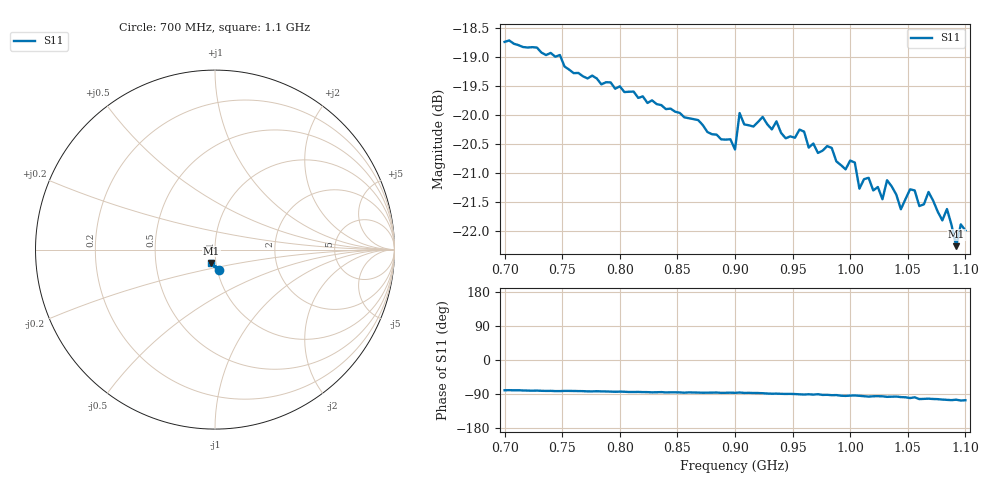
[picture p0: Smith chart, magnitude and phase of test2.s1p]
# HZ S RI R 50
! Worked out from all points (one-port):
!   101 points, 700 MHz to 1.1 GHz, reference 50 ohm
!   lowest |S11| = -22.3 dB at 1.092 GHz (marker M1), VSWR 1.17, Z = 47.5 - j7.14 ohm
!   |S11| at or under -10 dB: start of sweep to end of sweep
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7e8  0.0204 -0.1138
7.48e8  0.0154 -0.1116
7.52e8  0.0162 -0.1089
8e8  0.0121 -0.1052
8.52e8  0.00793 -0.1002
9e8  0.00549 -0.0933
9.04e8  0.00725 -0.1002
9.08e8  0.00535 -0.0981
9.52e8  0.000195 -0.0956
9.56e8  -0.000911 -0.0972
9.72e8  -0.000451 -0.0928
9.84e8  -0.00473 -0.0936
9.96e8  -0.00739 -0.0895
1e9  -0.00631 -0.0912
1.004e9  -0.00568 -0.0909
1.008e9  -0.00663 -0.0862
1.016e9  -0.0103 -0.0877
1.028e9  -0.00857 -0.0842
1.032e9  -0.0111 -0.0872
1.044e9  -0.0113 -0.0822
1.052e9  -0.0156 -0.0849
1.06e9  -0.0189 -0.0814
1.068e9  -0.018 -0.084
1.08e9  -0.0202 -0.0786
1.084e9  -0.0217 -0.0801
1.092e9  -0.0197 -0.0746
1.096e9  -0.0235 -0.077
1.1e9  -0.0221 -0.0764
